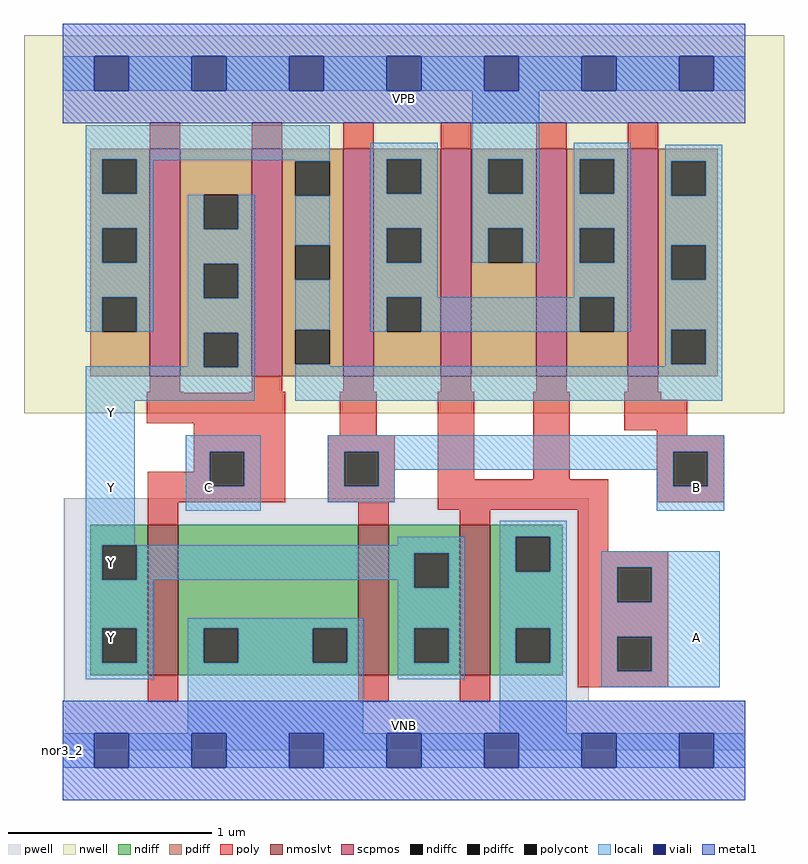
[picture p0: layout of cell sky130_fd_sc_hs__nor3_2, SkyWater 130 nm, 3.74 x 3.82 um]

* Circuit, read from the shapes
.subckt sky130_fd_sc_hs__nor3_2 A B C VGND VNB VPB VPWR Y
XM1 VGND C Y VNB sky130_fd_pr__nfet_01v8_lvt w=0.74 l=0.15
XM2 Y B VGND VNB sky130_fd_pr__nfet_01v8_lvt w=0.74 l=0.15
XM3 VGND A Y VNB sky130_fd_pr__nfet_01v8_lvt w=0.74 l=0.15
XM4 Y C n1 VPB sky130_fd_pr__pfet_01v8 w=1.12 l=0.15 m=2
XM5 n2 B n1 VPB sky130_fd_pr__pfet_01v8 w=1.12 l=0.15 m=2
XM6 VPWR A n2 VPB sky130_fd_pr__pfet_01v8 w=1.12 l=0.15 m=2
.ends

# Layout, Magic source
magic
tech sky130A
magscale 1 2
<< nwell >>
rect -38 332 710 704
<< pwell >>
rect 1 49 518 248
rect 0 0 672 49
<< scpmos >>
rect 86 368 116 592
rect 186 368 216 592
rect 276 368 306 592
rect 372 368 402 592
rect 466 368 496 592
rect 556 368 586 592
<< nmoslvt >>
rect 84 74 114 222
rect 291 74 321 222
rect 391 74 421 222
<< ndiff >>
rect 27 202 84 222
rect 27 168 39 202
rect 73 168 84 202
rect 27 120 84 168
rect 27 86 39 120
rect 73 86 84 120
rect 27 74 84 86
rect 114 120 291 222
rect 114 86 139 120
rect 173 86 246 120
rect 280 86 291 120
rect 114 74 291 86
rect 321 194 391 222
rect 321 160 346 194
rect 380 160 391 194
rect 321 120 391 160
rect 321 86 346 120
rect 380 86 391 120
rect 321 74 391 86
rect 421 210 492 222
rect 421 176 446 210
rect 480 176 492 210
rect 421 120 492 176
rect 421 86 446 120
rect 480 86 492 120
rect 421 74 492 86
<< pdiff >>
rect 27 582 86 592
rect 27 548 39 582
rect 73 548 86 582
rect 27 514 86 548
rect 27 480 39 514
rect 73 480 86 514
rect 27 446 86 480
rect 27 412 39 446
rect 73 412 86 446
rect 27 368 86 412
rect 116 547 186 592
rect 116 513 139 547
rect 173 513 186 547
rect 116 479 186 513
rect 116 445 139 479
rect 173 445 186 479
rect 116 411 186 445
rect 116 377 139 411
rect 173 377 186 411
rect 116 368 186 377
rect 216 580 276 592
rect 216 546 229 580
rect 263 546 276 580
rect 216 497 276 546
rect 216 463 229 497
rect 263 463 276 497
rect 216 414 276 463
rect 216 380 229 414
rect 263 380 276 414
rect 216 368 276 380
rect 306 582 372 592
rect 306 548 319 582
rect 353 548 372 582
rect 306 514 372 548
rect 306 480 319 514
rect 353 480 372 514
rect 306 446 372 480
rect 306 412 319 446
rect 353 412 372 446
rect 306 368 372 412
rect 402 582 466 592
rect 402 548 419 582
rect 453 548 466 582
rect 402 514 466 548
rect 402 480 419 514
rect 453 480 466 514
rect 402 368 466 480
rect 496 582 556 592
rect 496 548 509 582
rect 543 548 556 582
rect 496 514 556 548
rect 496 480 509 514
rect 543 480 556 514
rect 496 446 556 480
rect 496 412 509 446
rect 543 412 556 446
rect 496 368 556 412
rect 586 580 645 592
rect 586 546 599 580
rect 633 546 645 580
rect 586 497 645 546
rect 586 463 599 497
rect 633 463 645 497
rect 586 414 645 463
rect 586 380 599 414
rect 633 380 645 414
rect 586 368 645 380
<< ndiffc >>
rect 39 168 73 202
rect 39 86 73 120
rect 139 86 173 120
rect 246 86 280 120
rect 346 160 380 194
rect 346 86 380 120
rect 446 176 480 210
rect 446 86 480 120
<< pdiffc >>
rect 39 548 73 582
rect 39 480 73 514
rect 39 412 73 446
rect 139 513 173 547
rect 139 445 173 479
rect 139 377 173 411
rect 229 546 263 580
rect 229 463 263 497
rect 229 380 263 414
rect 319 548 353 582
rect 319 480 353 514
rect 319 412 353 446
rect 419 548 453 582
rect 419 480 453 514
rect 509 548 543 582
rect 509 480 543 514
rect 509 412 543 446
rect 599 546 633 580
rect 599 463 633 497
rect 599 380 633 414
<< poly >>
rect 86 592 116 618
rect 186 592 216 618
rect 276 592 306 618
rect 372 592 402 618
rect 466 592 496 618
rect 556 592 586 618
rect 86 353 116 368
rect 186 353 216 368
rect 276 353 306 368
rect 372 353 402 368
rect 466 353 496 368
rect 556 353 586 368
rect 83 352 119 353
rect 183 352 219 353
rect 83 322 219 352
rect 129 294 219 322
rect 273 310 309 353
rect 129 274 145 294
rect 84 260 145 274
rect 179 260 219 294
rect 84 244 219 260
rect 261 294 327 310
rect 261 260 277 294
rect 311 260 327 294
rect 261 244 327 260
rect 369 267 405 353
rect 463 267 499 353
rect 553 345 589 353
rect 553 315 615 345
rect 585 310 615 315
rect 585 294 651 310
rect 84 222 114 244
rect 291 222 321 244
rect 369 237 537 267
rect 585 260 601 294
rect 635 260 651 294
rect 585 244 651 260
rect 391 222 421 237
rect 507 196 537 237
rect 507 180 596 196
rect 507 146 546 180
rect 580 146 596 180
rect 507 112 596 146
rect 507 78 546 112
rect 580 78 596 112
rect 84 48 114 74
rect 291 48 321 74
rect 391 48 421 74
rect 507 62 596 78
<< polycont >>
rect 145 260 179 294
rect 277 260 311 294
rect 601 260 635 294
rect 546 146 580 180
rect 546 78 580 112
<< locali >>
rect 0 649 31 683
rect 65 649 127 683
rect 161 649 223 683
rect 257 649 319 683
rect 353 649 415 683
rect 449 649 511 683
rect 545 649 607 683
rect 641 649 672 683
rect 23 582 263 615
rect 23 548 39 582
rect 73 581 263 582
rect 73 548 89 581
rect 23 514 89 548
rect 229 580 263 581
rect 23 480 39 514
rect 73 480 89 514
rect 23 446 89 480
rect 23 412 39 446
rect 73 412 89 446
rect 123 513 139 547
rect 173 513 189 547
rect 123 479 189 513
rect 123 445 139 479
rect 173 445 189 479
rect 123 411 189 445
rect 123 378 139 411
rect 23 377 139 378
rect 173 377 189 411
rect 23 344 189 377
rect 229 497 263 546
rect 229 414 263 463
rect 303 582 369 598
rect 303 548 319 582
rect 353 548 369 582
rect 303 514 369 548
rect 303 480 319 514
rect 353 480 369 514
rect 403 582 469 649
rect 403 548 419 582
rect 453 548 469 582
rect 403 514 469 548
rect 403 480 419 514
rect 453 480 469 514
rect 503 582 559 598
rect 503 548 509 582
rect 543 548 559 582
rect 503 514 559 548
rect 503 480 509 514
rect 543 480 559 514
rect 303 446 369 480
rect 503 446 559 480
rect 303 412 319 446
rect 353 412 509 446
rect 543 412 559 446
rect 593 580 649 596
rect 593 546 599 580
rect 633 546 649 580
rect 593 497 649 546
rect 593 463 599 497
rect 633 463 649 497
rect 593 414 649 463
rect 229 378 263 380
rect 593 380 599 414
rect 633 380 649 414
rect 593 378 649 380
rect 229 344 649 378
rect 23 202 71 344
rect 121 294 195 310
rect 121 260 145 294
rect 179 260 195 294
rect 121 236 195 260
rect 261 294 651 310
rect 261 260 277 294
rect 311 276 601 294
rect 311 260 327 276
rect 261 244 327 260
rect 585 260 601 276
rect 635 260 651 294
rect 585 236 651 260
rect 430 210 496 226
rect 330 202 396 210
rect 23 168 39 202
rect 73 194 396 202
rect 73 168 346 194
rect 23 120 89 168
rect 330 160 346 168
rect 380 160 396 194
rect 23 86 39 120
rect 73 86 89 120
rect 23 70 89 86
rect 123 120 296 130
rect 123 86 139 120
rect 173 86 246 120
rect 280 86 296 120
rect 123 17 296 86
rect 330 120 396 160
rect 330 86 346 120
rect 380 86 396 120
rect 330 70 396 86
rect 430 176 446 210
rect 480 176 496 210
rect 430 120 496 176
rect 430 86 446 120
rect 480 86 496 120
rect 430 17 496 86
rect 530 180 647 196
rect 530 146 546 180
rect 580 146 647 180
rect 530 112 647 146
rect 530 78 546 112
rect 580 78 647 112
rect 530 62 647 78
rect 0 -17 31 17
rect 65 -17 127 17
rect 161 -17 223 17
rect 257 -17 319 17
rect 353 -17 415 17
rect 449 -17 511 17
rect 545 -17 607 17
rect 641 -17 672 17
<< viali >>
rect 31 649 65 683
rect 127 649 161 683
rect 223 649 257 683
rect 319 649 353 683
rect 415 649 449 683
rect 511 649 545 683
rect 607 649 641 683
rect 31 -17 65 17
rect 127 -17 161 17
rect 223 -17 257 17
rect 319 -17 353 17
rect 415 -17 449 17
rect 511 -17 545 17
rect 607 -17 641 17
<< metal1 >>
rect 0 683 672 715
rect 0 649 31 683
rect 65 649 127 683
rect 161 649 223 683
rect 257 649 319 683
rect 353 649 415 683
rect 449 649 511 683
rect 545 649 607 683
rect 641 649 672 683
rect 0 617 672 649
rect 0 17 672 49
rect 0 -17 31 17
rect 65 -17 127 17
rect 161 -17 223 17
rect 257 -17 319 17
rect 353 -17 415 17
rect 449 -17 511 17
rect 545 -17 607 17
rect 641 -17 672 17
rect 0 -49 672 -17
<< labels >>
rlabel comment s 0 0 0 0 4 nor3_2
flabel pwell s 0 0 672 49 0 FreeSans 200 0 0 0 VNB
port 5 nsew ground bidirectional
flabel nwell s 0 617 672 666 0 FreeSans 200 0 0 0 VPB
port 6 nsew power bidirectional
flabel metal1 s 0 617 672 666 0 FreeSans 340 0 0 0 VPWR
port 7 nsew power bidirectional
flabel metal1 s 0 0 672 49 0 FreeSans 340 0 0 0 VGND
port 4 nsew ground bidirectional
flabel locali s 31 94 65 128 0 FreeSans 340 0 0 0 Y
port 8 nsew signal output
flabel locali s 31 168 65 202 0 FreeSans 340 0 0 0 Y
port 8 nsew signal output
flabel locali s 31 242 65 276 0 FreeSans 340 0 0 0 Y
port 8 nsew signal output
flabel locali s 31 316 65 350 0 FreeSans 340 0 0 0 Y
port 8 nsew signal output
flabel locali s 607 94 641 128 0 FreeSans 340 0 0 0 A
port 1 nsew signal input
flabel locali s 607 242 641 276 0 FreeSans 340 0 0 0 B
port 2 nsew signal input
flabel locali s 127 242 161 276 0 FreeSans 340 0 0 0 C
port 3 nsew signal input
<< properties >>
string LEFsite unit
string LEFclass CORE
string FIXED_BBOX 0 0 672 666
string GDS_FILE $PDKPATH/libs.ref/sky130_fd_sc_hs/gds/sky130_fd_sc_hs.gds
string LEFsymmetry X Y
string GDS_END 1584644
string GDS_START 1577766
<< end >>
